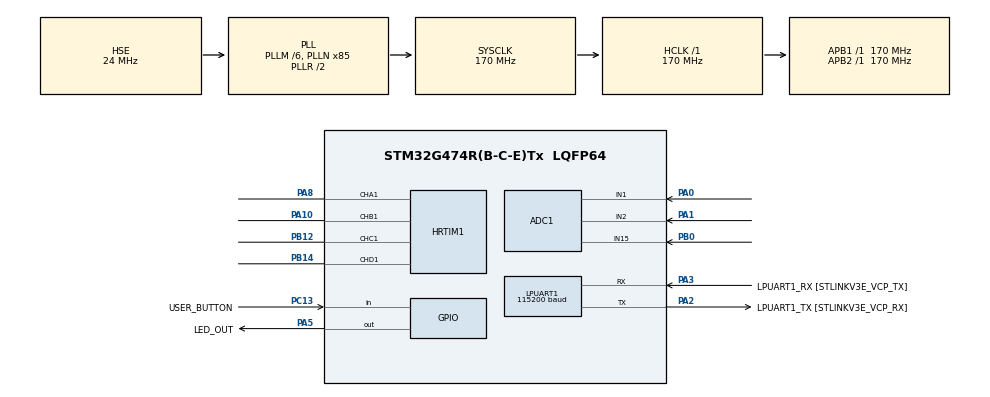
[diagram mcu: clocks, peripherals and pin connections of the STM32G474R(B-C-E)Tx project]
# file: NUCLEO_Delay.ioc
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ADC1.Channel-0\#ChannelRegularConversion=ADC_CHANNEL_1
ADC1.ContinuousConvMode=DISABLE
ADC1.NbrOfConversionFlag=1
ADC1.OffsetNumber-0\#ChannelRegularConversion=ADC_OFFSET_NONE
ADC1.Overrun=ADC_OVR_DATA_OVERWRITTEN
ADC1.Rank-0\#ChannelRegularConversion=1
ADC1.SamplingTime-0\#ChannelRegularConversion=ADC_SAMPLETIME_247CYCLES_5
ADC1.master=1
HRTIM1.PreloadEnable-MasterTimer=HRTIM_PRELOAD_ENABLED
HRTIM1.PreloadEnable-Output_TA1=HRTIM_PRELOAD_ENABLED
HRTIM1.PreloadEnable-Output_TB1=HRTIM_PRELOAD_ENABLED
HRTIM1.PrescalerRatio_TA=HRTIM_PRESCALERRATIO_MUL4
HRTIM1.PrescalerRatio_TB=HRTIM_PRESCALERRATIO_MUL4
HRTIM1.Timeout=5
LPUART1.BaudRate=115200
Mcu.Family=STM32G4
Mcu.Name=STM32G474R(B-C-E)Tx
Mcu.Package=LQFP64
NVIC.PriorityGroup=NVIC_PRIORITYGROUP_4
NVIC.TIM6_DAC_IRQn=true\:0\:0\:false\:false\:true\:true\:true\:true
PA0.Mode=IN1-Single-Ended
PA0.Signal=ADC1_IN1
PA1.Mode=IN2-Single-Ended
PA1.Signal=ADC1_IN2
PA10.Mode=Output_TB1
PA10.Signal=HRTIM1_CHB1
PA13.GPIO_Label=T_SWDIO
PA13.Mode=Trace_Asynchronous_SW
PA13.Signal=SYS_JTMS-SWDIO
PA14.GPIO_Label=T_SWCLK
PA14.Mode=Trace_Asynchronous_SW
PA14.Signal=SYS_JTCK-SWCLK
PA2.GPIO_Label=LPUART1_TX [STLINKV3E_VCP_RX]
PA2.Mode=Asynchronous
PA2.Signal=LPUART1_TX
PA3.GPIO_Label=LPUART1_RX [STLINKV3E_VCP_TX]
PA3.Mode=Asynchronous
PA3.Signal=LPUART1_RX
PA5.GPIO_Label=LED_OUT
PA5.GPIO_PuPd=GPIO_NOPULL
PA5.Signal=GPIO_Output
PA8.Mode=Output_TA1
PA8.Signal=HRTIM1_CHA1
PB0.Mode=IN15-Single-Ended
PB0.Signal=ADC1_IN15
PB12.Mode=Output_TC1
PB12.Signal=HRTIM1_CHC1
PB14.Mode=Output_TD1
PB14.Signal=HRTIM1_CHD1
PB3.GPIO_Label=T_SWO
PB3.Mode=Trace_Asynchronous_SW
PB3.Signal=SYS_JTDO-SWO
PC13.GPIO_Label=USER_BUTTON
PC13.Signal=GPIO_Input
PC14-OSC32_IN.GPIO_Label=RCC_OSC32_IN
PC14-OSC32_IN.Mode=LSE-External-Oscillator
PC14-OSC32_IN.Signal=RCC_OSC32_IN
PC15-OSC32_OUT.GPIO_Label=RCC_OSC32_OUT
PC15-OSC32_OUT.Mode=LSE-External-Oscillator
PC15-OSC32_OUT.Signal=RCC_OSC32_OUT
PF0-OSC_IN.GPIO_Label=RCC_OSC_IN
PF0-OSC_IN.Mode=HSE-External-Oscillator
PF0-OSC_IN.Signal=RCC_OSC_IN
PF1-OSC_OUT.GPIO_Label=RCC_OSC_OUT
PF1-OSC_OUT.Mode=HSE-External-Oscillator
PF1-OSC_OUT.Signal=RCC_OSC_OUT
ProjectManager.HeapSize=0x200
ProjectManager.StackSize=0x400
ProjectManager.TargetToolchain=STM32CubeIDE
RCC.ADC12Freq_Value=170000000
RCC.ADC345Freq_Value=170000000
RCC.AHBFreq_Value=170000000
RCC.APB1Freq_Value=170000000
RCC.APB1TimFreq_Value=170000000
RCC.APB2Freq_Value=170000000
RCC.APB2TimFreq_Value=170000000
RCC.CortexFreq_Value=170000000
RCC.EXTERNAL_CLOCK_VALUE=12288000
RCC.EnbaleCSS=true
RCC.HCLKFreq_Value=170000000
RCC.HSE_VALUE=24000000
RCC.HSI48_VALUE=48000000
RCC.HSI_VALUE=16000000
RCC.PLLM=RCC_PLLM_DIV6
RCC.PLLN=85
RCC.PLLSourceVirtual=RCC_PLLSOURCE_HSE
RCC.RTCClockSelection=RCC_RTCCLKSOURCE_LSE
RCC.SYSCLKFreq_VALUE=170000000
RCC.SYSCLKSource=RCC_SYSCLKSOURCE_PLLCLK
RCC.USBFreq_Value=170000000
RCC.VCOOutputFreq_Value=340000000
TIM6.PeriodNoDither=999
TIM6.Prescaler=169
VP_CORDIC_VS_CORDIC.Mode=CORDIC_Activate
VP_HRTIM1_VS_hrtimMasterTimerNoOutput.Mode=MasterTimer
VP_SYS_VS_DBSignals.Mode=DisableDeadBatterySignals
VP_TIM6_VS_ClockSourceINT.Mode=Enable_Timer
board=NUCLEO-G474RE

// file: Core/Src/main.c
/* USER CODE BEGIN Header */
/**
  ******************************************************************************
  * @file           : main.c
  * @brief          : Main program body
  ******************************************************************************
  * @attention
  *
  * Copyright (c) 2026 STMicroelectronics.
  * All rights reserved.
  *
  * This software is licensed under terms that can be found in the LICENSE file
  * in the root directory of this software component.
  * If no LICENSE file comes with this software, it is provided AS-IS.
  *
  ******************************************************************************
  */
/* USER CODE END Header */
#include "main.h"
#include "adc.h"
#include "cordic.h"
#include "hrtim.h"
#include "usart.h"
#include "tim.h"
#include "gpio.h"

/* USER CODE BEGIN Includes */
#include "stdio.h"
/* USER CODE END Includes */

/* USER CODE BEGIN PD */
#define ADC_MIN 0
#define ADC_MAX 4095

/* --- BBD clock range -----------------------------------------------------
 * The MN3005 is specified for fCP = 10 kHz .. 100 kHz, i.e. 204.8 ms down to
 * 20.48 ms per chip (delay = 2048 / fCP: 4096 stages over a two-phase clock).
 * Below 10 kHz is not merely a slow setting - the charge packets leak faster
 * than they are passed along. Longer delays come from routing through more
 * BBDs, not from slowing the clock. The old 10625 (4 kHz) was 2.5x outside
 * the device.
 *
 * Timers A..D run at fHRTIM x 4 = 680 MHz (MUL4), the finest prescaler that
 * still spans essentially the whole range: ~0.25 cents of pitch per tick at
 * the short-delay end, against 4.1 cents at DIV4. Its 16-bit period register
 * bottoms out at 10.38 kHz rather than 10 kHz, costing ~4% of the maximum
 * delay per chip - accepted in exchange for the resolution.
 */
#define HRTIM_COUNTER_HZ    680000000UL
#define HRTIM_TICKS_MIN     6800     // 100.0 kHz -> 20.48 ms (chip's fastest clock)
#define HRTIM_TICKS_MAX     65503    //  10.4 kHz -> 197.3 ms (period register ceiling)

/* Hardware limits on the HRTIM period register: for prescalers finer than
 * DIV1 the reference manual requires 0x0060 <= PER <= 0xFFDF. The LFO adds up
 * to +/-10% on top of the base period, so at a long delay an upward swing
 * would wrap 16 bits and throw the BBD clock a decade off in a single tick. */
#define HRTIM_PERIOD_MIN_HW 0x0060u  // 96
#define HRTIM_PERIOD_MAX_HW 0xFFDFu  // 65503

/* Tap tempo: ticks = ms * HRTIM_COUNTER_HZ / (2048 * 1000) */
#define TAP_MS_TO_TICKS     332.03125f

/* --- Wow & Flutter LFO rate ----------------------------------------------
 * The LFO phase accumulator is 32 bits and one full wrap is exactly one
 * sine cycle, so the per-tick step for a given rate is
 *
 *     step = 2^32 * f_lfo / f_tick        (f_tick = 1 kHz, the TIM6 rate)
 *
 * The previous value (100 + rate*5) peaked at 20575, i.e. one cycle every
 * 209 seconds, which is far too slow to hear as modulation.
 */
#define LFO_STEP_MIN      429497u     // 0.1 Hz - slow tape "wow"
#define LFO_STEP_MAX      42949673u   // 10 Hz  - fast "flutter"
#define LFO_STEP_PER_LSB  ((LFO_STEP_MAX - LFO_STEP_MIN) / ADC_MAX)   // 10383
/* USER CODE END PD */

/* USER CODE BEGIN PV */
/* ==============================================================================
 *                         DSP & CONTROL VARIABLES
 * ============================================================================== */

/* --- Potentiometer Readings (0-4095) --- */
uint16_t time_pot_value = 0;       // Controls the main BBD delay time
uint16_t pot_mod_rate = 0;         // Controls the speed of the Wow & Flutter LFO
uint16_t pot_mod_depth = 0;        // Controls the intensity of the pitch modulation

/* --- Delay State --- */
// Base delay time calculated from the Time pot (before LFO modulation)
uint32_t current_base_hrtim_period = HRTIM_TICKS_MAX;

/* --- LFO State --- */
// Phase tracking for the CORDIC sine wave generator
uint32_t lfo_phase_accumulator = 0;

/* --- Tap Tempo State --- */
uint8_t tap_mode_active = 0;       // 1 if Tap controls delay, 0 if Pot controls delay
uint16_t last_time_pot_value = 0;  // Used to detect when the user turns the knob to override tap

#define MAX_TAP_SAMPLES 4
uint32_t tap_intervals[MAX_TAP_SAMPLES] = {0};
uint8_t tap_count = 0;
uint32_t ms_since_last_tap = 0;
uint8_t button_history = 0x00;     // Shift register for debouncing PC13 (Starts 0 for active high)
uint8_t button_pressed = 0;
uint8_t tap_averaging_complete = 0; // Ensures we only update tempo once after tapping stops

// LED Blink state
uint32_t led_blink_counter = 0;
uint32_t current_tempo_ms = 500;   // Default to 500ms
/* USER CODE END PV */

void SystemClock_Config(void);
/* USER CODE BEGIN PFP */
uint32_t ADC1_Read_Channel(uint32_t channel);
void HRTIM_Update_Frequency(uint32_t targetPeriodTicks);
void Update_Delay_From_Pot_Audio_Taper(uint16_t adc_value);
/* USER CODE END PFP */

/* USER CODE BEGIN 0 */
/* ==============================================================================
 *                          CUSTOM DSP & HARDWARE FUNCTIONS
 * ============================================================================== */

/**
  * @brief  Reads a single ADC channel by reconfiguring the multiplexer on the fly.
  *         This allows polling multiple single-ended channels on the same ADC without DMA.
  * @param  channel The ADC channel macro (e.g., ADC_CHANNEL_1)
  * @retval 12-bit ADC value (0-4095)
  */
uint32_t ADC1_Read_Channel(uint32_t channel)
{
  ADC_ChannelConfTypeDef sConfig = {0};
  sConfig.Channel = channel;
  sConfig.Rank = ADC_REGULAR_RANK_1;
  // 247.5 cycles at the 42.5 MHz ADC clock is ~5.8us of sampling. A pot
  // presents up to a quarter of its track resistance as source impedance
  // (2.5k for a 10k pot, 25k for a 100k), and the old 2.5 cycles gave only
  // 59ns - far too short to charge the sampling cap, which showed up as
  // noisy readings and crosstalk between the three channels.
  sConfig.SamplingTime = ADC_SAMPLETIME_247CYCLES_5;
  sConfig.SingleDiff = ADC_SINGLE_ENDED;
  sConfig.OffsetNumber = ADC_OFFSET_NONE;
  sConfig.Offset = 0;

  // Try to configure. If it fails, return 0 instead of freezing the whole MCU
  if (HAL_ADC_ConfigChannel(&hadc1, &sConfig) != HAL_OK)
  {
    return 0;
  }

  HAL_ADC_Start(&hadc1);
  if (HAL_ADC_PollForConversion(&hadc1, 10) != HAL_OK)
  {
      HAL_ADC_Stop(&hadc1);
      return 0;
  }

  uint32_t value = HAL_ADC_GetValue(&hadc1);
  HAL_ADC_Stop(&hadc1); // STOP the ADC so it can be reconfigured for the next channel!
  return value;
}

/**
  * @brief  Updates the HRTIM Master Period and Compare registers safely.
  *         Ensures the duty cycle remains exactly 50%.
  * @param  targetPeriodTicks The new total cycle duration in HRTIM ticks.
  */
void HRTIM_Update_Frequency(uint32_t targetPeriodTicks)
{
    /* Clamp first. The LFO can push the request past the register range at
     * either end of the sweep, and PER is only 16 bits - an unclamped
     * overflow wraps and shifts the BBD clock by a decade instantly. */
    if (targetPeriodTicks < HRTIM_PERIOD_MIN_HW) targetPeriodTicks = HRTIM_PERIOD_MIN_HW;
    if (targetPeriodTicks > HRTIM_PERIOD_MAX_HW) targetPeriodTicks = HRTIM_PERIOD_MAX_HW;

    /* Round DOWN to even, so the compare is an exact half period. Rounding up
     * would carry 0xFFDF one past the ceiling just clamped to. */
    targetPeriodTicks &= ~1u;
    // Update Timer A directly (it's driving our pin)
    __HAL_HRTIM_SETPERIOD(&hhrtim1, HRTIM_TIMERINDEX_TIMER_A, targetPeriodTicks);
    __HAL_HRTIM_SETCOMPARE(&hhrtim1, HRTIM_TIMERINDEX_TIMER_A, HRTIM_COMPAREUNIT_1, (targetPeriodTicks / 2));

    // Also update Master just to keep them in sync
    __HAL_HRTIM_SETPERIOD(&hhrtim1, HRTIM_TIMERINDEX_MASTER, targetPeriodTicks);
    __HAL_HRTIM_SETCOMPARE(&hhrtim1, HRTIM_TIMERINDEX_MASTER, HRTIM_COMPAREUNIT_1, (targetPeriodTicks / 2));

    // Force an immediate update so the new frequency takes effect instantly!
    HAL_HRTIM_SoftwareUpdate(&hhrtim1, HRTIM_TIMERUPDATE_A | HRTIM_TIMERUPDATE_MASTER);
}

/**
  * @brief  Reads the Time ADC value, applies a quadratic audio taper curve,
  *         and updates the base HRTIM frequency.
  * @param  adc_value The raw 12-bit ADC reading (0-4095).
  */
void Update_Delay_From_Pot_Audio_Taper(uint16_t adc_value)
{
    if(adc_value > ADC_MAX) adc_value = ADC_MAX;
    uint32_t tapered_adc = ((uint32_t)adc_value * (uint32_t)adc_value) / ADC_MAX;
    uint32_t target_ticks = HRTIM_TICKS_MIN +
                           ((uint64_t)(tapered_adc) * (HRTIM_TICKS_MAX - HRTIM_TICKS_MIN))
                           / ADC_MAX;

    current_base_hrtim_period = target_ticks;
    HRTIM_Update_Frequency(target_ticks);
}
/* USER CODE END 0 */

int main(void)
{

  /* MCU Configuration--------------------------------------------------------*/

  /* Reset of all peripherals, Initializes the Flash interface and the Systick. */
  HAL_Init();

  /* Configure the system clock */
  SystemClock_Config();

  /* Initialize all configured peripherals */
  MX_GPIO_Init();
  MX_LPUART1_UART_Init();
  MX_HRTIM1_Init();
  MX_ADC1_Init();
  MX_CORDIC_Init();
  MX_TIM6_Init();
  /* USER CODE BEGIN 2 */
  /* PC13 is a plain GPIO_Input in the .ioc and the Tap Tempo button is polled
   * with a shift-register debounce in the TIM6 callback. No EXTI line is
   * configured for it, so there is nothing to disable here. */

  // FIX: Force TA1 to toggle based on its OWN Timer A events (50% duty cycle)
  HRTIM_OutputCfgTypeDef pOutputCfg = {0};
  pOutputCfg.Polarity = HRTIM_OUTPUTPOLARITY_HIGH;
  pOutputCfg.SetSource = HRTIM_OUTPUTSET_TIMPER;
  pOutputCfg.ResetSource = HRTIM_OUTPUTRESET_TIMCMP1;
  pOutputCfg.IdleMode = HRTIM_OUTPUTIDLEMODE_NONE;
  pOutputCfg.IdleLevel = HRTIM_OUTPUTIDLELEVEL_INACTIVE;
  pOutputCfg.FaultLevel = HRTIM_OUTPUTFAULTLEVEL_NONE;
  pOutputCfg.ChopperModeEnable = HRTIM_OUTPUTCHOPPERMODE_DISABLED;
  pOutputCfg.BurstModeEntryDelayed = HRTIM_OUTPUTBURSTMODEENTRY_REGULAR;
  HAL_HRTIM_WaveformOutputConfig(&hhrtim1, HRTIM_TIMERINDEX_TIMER_A, HRTIM_OUTPUT_TA1, &pOutputCfg);
  // Start the HRTIM Master and Timer A (BBD Clock Output on TA1)
  HAL_HRTIM_WaveformOutputStart(&hhrtim1, HRTIM_OUTPUT_TA1);
  HAL_HRTIM_WaveformCountStart(&hhrtim1, HRTIM_TIMERID_MASTER | HRTIM_TIMERID_TIMER_A);

  // Calibrate ADC
  HAL_ADCEx_Calibration_Start(&hadc1, ADC_SINGLE_ENDED);

  // Start the LFO timer (1kHz interrupt)
  HAL_TIM_Base_Start_IT(&htim6);
  /* USER CODE END 2 */

  /* Infinite loop */
  /* USER CODE BEGIN WHILE */
  while (1)
  {
      /* 1. Poll the Hardware Potentiometers */
      time_pot_value = ADC1_Read_Channel(ADC_CHANNEL_1);   // PA0: Delay Time
      pot_mod_rate   = ADC1_Read_Channel(ADC_CHANNEL_2);   // PA1: LFO Rate
      pot_mod_depth  = ADC1_Read_Channel(ADC_CHANNEL_15);  // PB0: LFO Depth

      /* 2. Pot vs Tap Priority Logic */
      // If the user turns the knob by more than ~2.5% (100 units), override Tap Mode
      int pot_diff = (int)time_pot_value - (int)last_time_pot_value;
      if (pot_diff < 0) pot_diff = -pot_diff;

      if (pot_diff > 100)
      {
          tap_mode_active = 0;
          last_time_pot_value = time_pot_value;
      }

      // Only follow the physical knob if we are NOT in Tap Mode
      if (tap_mode_active == 0)
      {
          Update_Delay_From_Pot_Audio_Taper(time_pot_value);
      }

      /* 3. Toggle PA5 (Heartbeat LED) */
      HAL_GPIO_TogglePin(LED_OUT_GPIO_Port, LED_OUT_Pin);

      /* 4. Small delay to prevent thrashing the ADC/Timer registers */
      HAL_Delay(10);
    /* USER CODE END WHILE */

  }
}

void SystemClock_Config(void)
{
  RCC_OscInitTypeDef RCC_OscInitStruct = {0};
  RCC_ClkInitTypeDef RCC_ClkInitStruct = {0};

  /** Configure the main internal regulator output voltage
  */
  HAL_PWREx_ControlVoltageScaling(PWR_REGULATOR_VOLTAGE_SCALE1_BOOST);

  /** Initializes the RCC Oscillators according to the specified parameters
  * in the RCC_OscInitTypeDef structure.
  */
  RCC_OscInitStruct.OscillatorType = RCC_OSCILLATORTYPE_HSE;
  RCC_OscInitStruct.HSEState = RCC_HSE_ON;
  RCC_OscInitStruct.PLL.PLLState = RCC_PLL_ON;
  RCC_OscInitStruct.PLL.PLLSource = RCC_PLLSOURCE_HSE;
  RCC_OscInitStruct.PLL.PLLM = RCC_PLLM_DIV6;
  RCC_OscInitStruct.PLL.PLLN = 85;
  RCC_OscInitStruct.PLL.PLLP = RCC_PLLP_DIV2;
  RCC_OscInitStruct.PLL.PLLQ = RCC_PLLQ_DIV2;
  RCC_OscInitStruct.PLL.PLLR = RCC_PLLR_DIV2;
  if (HAL_RCC_OscConfig(&RCC_OscInitStruct) != HAL_OK)
  {
    Error_Handler();
  }

  /** Initializes the CPU, AHB and APB buses clocks
  */
  RCC_ClkInitStruct.ClockType = RCC_CLOCKTYPE_HCLK|RCC_CLOCKTYPE_SYSCLK
                              |RCC_CLOCKTYPE_PCLK1|RCC_CLOCKTYPE_PCLK2;
  RCC_ClkInitStruct.SYSCLKSource = RCC_SYSCLKSOURCE_PLLCLK;
  RCC_ClkInitStruct.AHBCLKDivider = RCC_SYSCLK_DIV1;
  RCC_ClkInitStruct.APB1CLKDivider = RCC_HCLK_DIV1;
  RCC_ClkInitStruct.APB2CLKDivider = RCC_HCLK_DIV1;

  if (HAL_RCC_ClockConfig(&RCC_ClkInitStruct, FLASH_LATENCY_4) != HAL_OK)
  {
    Error_Handler();
  }

  /** Enables the Clock Security System
  */
  HAL_RCC_EnableCSS();
}

/* USER CODE BEGIN 4 */

/* ============================================================================== *
 * ============================================================================== */

/**
  * @brief  1kHz LFO Interrupt (TIM6). Generates Wow & Flutter via CORDIC.
  *         This callback runs 1000 times a second.
  */
void HAL_TIM_PeriodElapsedCallback(TIM_HandleTypeDef *htim)
{
    if (htim->Instance == TIM6)
    {
        /* --- 1. Tap Tempo Button Debounce (PC13) --- */
        // Read PC13, shift into history (1 = pressed because it is Active High)
        button_history = (button_history << 1) | (HAL_GPIO_ReadPin(USER_BUTTON_GPIO_Port, USER_BUTTON_Pin) == GPIO_PIN_SET ? 1 : 0);

        // If history is 0x0F (00001111), it means it was just solidly pressed for 4ms
        if (button_history == 0x0F && !button_pressed)
        {
            button_pressed = 1;

            // If it's been more than 2000ms since the last tap, restart the sequence
            if (ms_since_last_tap > 2000)
            {
                tap_count = 0;
            }

            if (tap_count > 0 && tap_count <= MAX_TAP_SAMPLES)
            {
                tap_intervals[tap_count - 1] = ms_since_last_tap;
            }

            if (tap_count < MAX_TAP_SAMPLES + 1) tap_count++;

            ms_since_last_tap = 0;
            tap_averaging_complete = 0; // Wait for tapping to stop
        }
        else if (button_history == 0xF0) // Solidly released for 4ms
        {
            button_pressed = 0;
        }

        /* --- 2. Tap Timeout & Averaging --- */
        if (ms_since_last_tap < 5000) ms_since_last_tap++;

        // If user hasn't tapped for 1500ms, and we have gathered taps, calculate the new tempo!
        if (ms_since_last_tap > 1500 && tap_count > 1 && !tap_averaging_complete)
        {
            uint32_t total_ms = 0;
            int valid_taps = tap_count - 1;
            for (int i = 0; i < valid_taps; i++)
            {
                total_ms += tap_intervals[i];
            }
            uint32_t avg_ms = total_ms / valid_taps;

            // Limit to physical pedal bounds (20ms to 600ms)
            // Bound to what one MN3005 can actually produce at MUL4.
            // NOTE: assumes the tapped interval refers to a single BBD. Once the
            // DG333A routes through N chips the repeat heard is N times this, and
            // this mapping has to take the selected path into account.
            if (avg_ms < 21)  avg_ms = 21;   // 20.48 ms at the 100 kHz limit
            if (avg_ms > 197) avg_ms = 197;  // 197.3 ms at the register ceiling

            current_tempo_ms = avg_ms;

            // Convert tapped tempo (ms) to BBD HRTIM ticks
            // Formula: ticks = avg_ms * (680MHz / 2048000) = avg_ms * 332.03125f
            uint32_t target_ticks = (uint32_t)((float)avg_ms * TAP_MS_TO_TICKS);

            if(target_ticks < HRTIM_TICKS_MIN) target_ticks = HRTIM_TICKS_MIN;
            if(target_ticks > HRTIM_TICKS_MAX) target_ticks = HRTIM_TICKS_MAX;

            current_base_hrtim_period = target_ticks;
            tap_mode_active = 1;         // Lock into Tap Mode
            tap_averaging_complete = 1;  // Only calculate once per tap sequence

            // Immediately sync the LED blink to the new beat
            led_blink_counter = 0;
        }

        /* --- 3. LED Tempo Blinker (PA5) --- */
        led_blink_counter++;
        if (led_blink_counter >= current_tempo_ms)
        {
            led_blink_counter = 0;
        }
        // Turn LED ON for the first 50ms of every beat
        if (led_blink_counter < 50)
        {
            HAL_GPIO_WritePin(LED_OUT_GPIO_Port, LED_OUT_Pin, GPIO_PIN_SET);
        }
        else
        {
            HAL_GPIO_WritePin(LED_OUT_GPIO_Port, LED_OUT_Pin, GPIO_PIN_RESET);
        }

        /* --- 4. Wow & Flutter LFO --- */
        /* Quadratic taper on the Rate pot, matching the Time pot idiom, so the
         * slow wow rates occupy most of the knob travel instead of being
         * squeezed into the first few percent. */
        uint32_t tapered_rate = ((uint32_t)pot_mod_rate * (uint32_t)pot_mod_rate) / ADC_MAX;
        uint32_t phase_step   = LFO_STEP_MIN + (tapered_rate * LFO_STEP_PER_LSB);
        lfo_phase_accumulator += phase_step;

        int32_t cordic_input = (int32_t)lfo_phase_accumulator;
        int32_t cordic_output;

        HAL_CORDIC_Calculate(&hcordic, &cordic_input, &cordic_output, 1, 0);

        float sine_wave = (float)cordic_output / 2147483648.0f;

        // Modulate up to +/- 10% of the current period to prevent underflow at high frequencies
        float max_tick_deviation = (pot_mod_depth / 4095.0f) * (current_base_hrtim_period * 0.1f);

        int32_t tick_modulation = (int32_t)(sine_wave * max_tick_deviation);

        uint32_t modulated_hrtim_period = current_base_hrtim_period + tick_modulation;

        HRTIM_Update_Frequency(modulated_hrtim_period);
    }
}
/* USER CODE END 4 */

void Error_Handler(void)
{
  /* USER CODE BEGIN Error_Handler_Debug */
  // Blink PA5 rapidly if we hit an error!
  GPIO_InitTypeDef GPIO_InitStruct = {0};
  __HAL_RCC_GPIOA_CLK_ENABLE();
  GPIO_InitStruct.Pin = LED_OUT_Pin;
  GPIO_InitStruct.Mode = GPIO_MODE_OUTPUT_PP;
  GPIO_InitStruct.Pull = GPIO_NOPULL;
  GPIO_InitStruct.Speed = GPIO_SPEED_FREQ_LOW;
  HAL_GPIO_Init(LED_OUT_GPIO_Port, &GPIO_InitStruct);

  __disable_irq();
  while (1)
  {
      HAL_GPIO_TogglePin(LED_OUT_GPIO_Port, LED_OUT_Pin);
      for(volatile int i=0; i<500000; i++);
  }
  /* USER CODE END Error_Handler_Debug */
}
